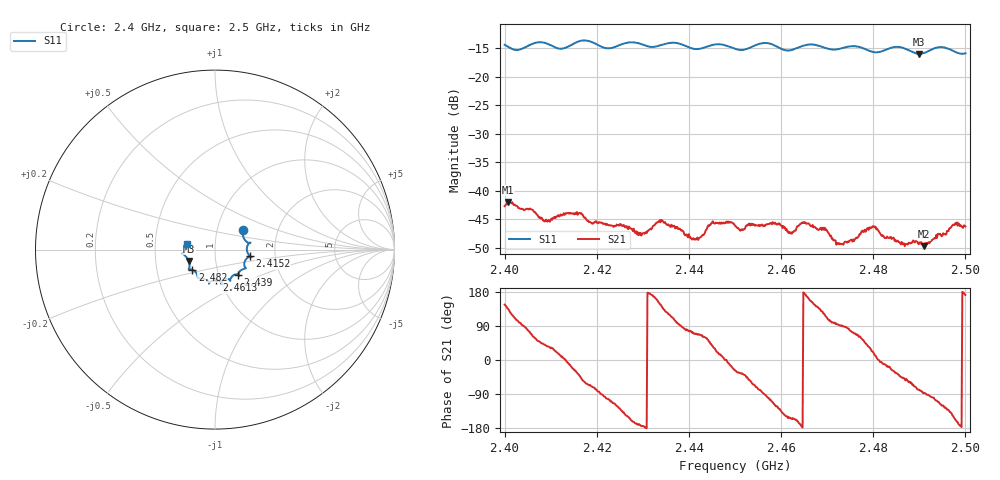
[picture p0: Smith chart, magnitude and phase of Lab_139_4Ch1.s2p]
# Hz S RI R 50
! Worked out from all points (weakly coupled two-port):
!   601 points, 2.4 GHz to 2.5 GHz, reference 50 ohm
!   highest |S21| = -41.95 dB at 2.4007 GHz (marker M1); lowest = -49.7 dB at 2.491 GHz (marker M2)
!   lowest |S11| = -15.9 dB at 2.49 GHz (marker M3), VSWR 1.38, Z = 37 - j4.81 ohm
!   |S11| at or under -10 dB: start of sweep to end of sweep
!   S12 and S22 are empty: the file has one direction only
!   S11 on the Smith chart (normalised r, x): 2.4 GHz: 1.33, +0.31; 2.4152 GHz: 1.48, -0.11; 2.439 GHz: 1.24, -0.36; 2.4613 GHz: 0.96, -0.34; 2.482 GHz: 0.76, -0.17; 2.5 GHz: 0.73, +0.05
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2.4e9  0.1563 0.1111  -0.00607 0.00408  0 0  0 0
2.400667e9  0.1549 0.1014  -0.00572 0.00557  0 0  0 0
2.408833e9  0.1951 0.0387  0.0042 0.00342  0 0  0 0
2.415167e9  0.1946 -0.0366  0.00552 -0.00285  0 0  0 0
2.416667e9  0.2041 -0.0425  0.00419 -0.00477  0 0  0 0
2.429167e9  0.1665 -0.1056  -0.0042 -0.000793  0 0  0 0
2.433333e9  0.1324 -0.1323  -0.00478 0.00239  0 0  0 0
2.439e9  0.1282 -0.139  0.000563 0.0041  0 0  0 0
2.441667e9  0.102 -0.1432  0.0014 0.00355  0 0  0 0
2.445e9  0.0841 -0.1711  0.0041 0.00324  0 0  0 0
2.45e9  0.0684 -0.1632  0.00441 -0.00223  0 0  0 0
2.456667e9  0.0393 -0.1949  -0.000237 -0.005  0 0  0 0
2.461333e9  0.00738 -0.1704  -0.00375 -0.00228  0 0  0 0
2.466667e9  -0.0333 -0.1901  -0.00432 0.00224  0 0  0 0
2.4725e9  -0.0719 -0.1603  -0.000144 0.00339  0 0  0 0
2.479667e9  -0.1045 -0.1302  0.00435 0.00187  0 0  0 0
2.482e9  -0.1263 -0.1118  0.00402 -0.000613  0 0  0 0
2.483333e9  -0.1392 -0.1097  0.00366 -0.00121  0 0  0 0
2.49e9  -0.1464 -0.0634  0.000707 -0.00345  0 0  0 0
2.491e9  -0.1548 -0.0482  0.000181 -0.00326  0 0  0 0
2.497667e9  -0.1668 -0.00475  -0.00452 -0.00213  0 0  0 0
2.5e9  -0.1578 0.0332  -0.00481 0.000694  0 0  0 0
